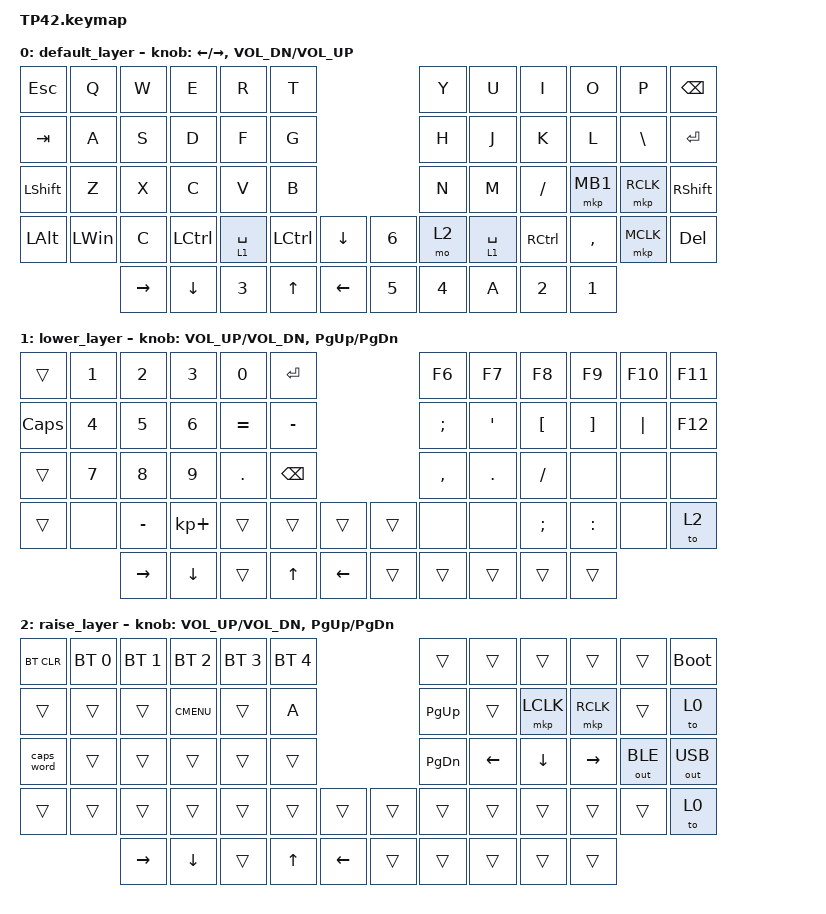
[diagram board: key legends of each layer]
/*
 * Copyright (c) 2020 The ZMK Contributors
 *
 * SPDX-License-Identifier: MIT
 */

#include <behaviors.dtsi>

// Enable mouse 启用鼠标

#include <dt-bindings/zmk/mouse.h>
#include <dt-bindings/zmk/mouse_settings.h>

// Enable Mouse Keys 启用鼠标键

#include "includes/mouse_keys.dtsi"
#include <dt-bindings/zmk/bt.h>
#include <dt-bindings/zmk/keys.h>
#include <dt-bindings/zmk/outputs.h>

// 以下的代码用来降低旋转分辨率

&left_encoder { resolution = <4>; };

&right_encoder { resolution = <4>; };

/ {
    keymap {
        compatible = "zmk,keymap";

        default_layer {
            // ------------------------------------------------------------------------------------------------------------
            // |  `    |  1  |  2  |  3   |  4   |  5   |                   |  6   |  7    |  8    |  9   |   0   |       |
            // |  ESC  |  Q  |  W  |  E   |  R   |  T   |                   |  Y   |  U    |  I    |  O   |   P   | BKSPC |
            // |  TAB  |  A  |  S  |  D   |  F   |  G   |                   |  H   |  J    |  K    |  L   |   ;   |   '   |
            // | SHIFT |  Z  |  X  |  C   |  V   |  B   |  MUTE  |  |       |  N   |  M    |  ,    |  .   |   /   | SHIFT |
            //               | GUI | ALT  | CTRL | LOWER|  ENTER |  | SPACE | RAISE| CTRL  | ALT   | GUI  |

            bindings = <
&kp ESC       &kp Q         &kp W      &kp E           &kp R         &kp T                                    &kp Y         &kp U        &kp I         &kp O      &kp P          &kp BACKSPACE
&kp TAB       &kp A         &kp S      &kp D           &kp F         &kp G                                    &kp H         &kp J        &kp K         &kp L      &kp BACKSLASH  &kp ENTER
&kp LSHIFT    &kp Z         &kp X      &kp C           &kp V         &kp B                                    &kp N         &kp M        &kp SLASH     &mkp MB1   &mkp RCLK      &kp RSHIFT
&kp LEFT_ALT  &kp LEFT_WIN  &kp C      &kp LCTRL       &lt 1 SPACE   &kp LCTRL  &kp DOWN_ARROW  &kp NUMBER_6  &mo 2         &lt 1 SPACE  &kp RCTRL     &kp COMMA  &mkp MCLK      &kp DELETE
                            &kp RIGHT  &kp DOWN_ARROW  &kp NUMBER_3  &kp UP     &kp LEFT        &kp N5        &kp NUMBER_4  &kp A        &kp NUMBER_2  &kp N1
            >;

            sensor-bindings = <&inc_dec_kp LEFT RIGHT &inc_dec_kp C_VOL_DN C_VOL_UP>;
        };

        lower_layer {
            // TODO: Some binds are waiting for shifted keycode support.
            // ------------------------------------------------------------------------------------------------------------
            // |       |  F1 |  F2 |  F3  |  F4  |  F5  |                   |  F6  |  F7   |  F8   |  F9  |  F10  |  F11  |
            // | `     |   1 |   2 |   3  |   4  |   5  |                   |   6  |   7   |   8   |   9  |    0  |  F12  |
            // |       |  !  |  @  |  #   |  $   |  %   |                   |  ^   |  &    |  *    |  (   |   )   |   |   |
            // |       |  =  |  -  |  +   |  {   |  }   |        |  |       |  [   |  ]    |  ;    |  :   |   \   |       |
            //               |     |      |      |      |        |  |       |      |       |       |      |

            bindings = <
&trans    &kp N1        &kp N2        &kp N3        &kp NUMBER_0  &kp ENTER                        &kp F6         &kp F7            &kp F8            &kp F9             &kp F10   &kp F11
&kp CLCK  &kp N4        &kp NUMBER_5  &kp N6        &kp EQUAL     &kp MINUS                        &kp SEMICOLON  &kp SINGLE_QUOTE  &kp LEFT_BRACKET  &kp RIGHT_BRACKET  &kp PIPE  &kp F12
&trans    &kp NUMBER_7  &kp NUMBER_8  &kp NUMBER_9  &kp PERIOD    &kp BACKSPACE                    &kp COMMA      &kp PERIOD        &kp SLASH         &none              &none     &none
&trans    &none         &kp MINUS     &kp KP_PLUS   &trans        &trans         &trans    &trans  &none          &none             &kp SEMI          &kp COLON          &none     &to 2
                        &kp RIGHT     &kp DOWN      &trans        &kp UP         &kp LEFT  &trans  &trans         &trans            &trans            &trans
            >;

            sensor-bindings = <&inc_dec_kp C_VOL_UP C_VOL_DN &inc_dec_kp PG_UP PG_DN>;
        };

        raise_layer {
            // ------------------------------------------------------------------------------------------------------------
            // |BTCLR| BT1  | BT2  |  BT3  |  BT4  |  BT5 |                |      |      |       |      |       |       |
            // |     | INS  | PSCR | GUI   |       |      |                | PGUP |      |   ^   |      |       |       |
            // |     | ALT  | CTRL | SHIFT |       | CAPS |                | PGDN |   <- |   v   |  ->  |  DEL  | BKSPC |
            // |     | UNDO | CUT  | COPY  | PASTE |      |      |  |      |      |      |       |      |       |       |
            //              |      |       |       |      |      |  |      |      |      |       |      |

            bindings = <
&bt BT_CLR  &bt BT_SEL 0  &bt BT_SEL 1     &bt BT_SEL 2    &bt BT_SEL 3  &bt BT_SEL 4                          &trans     &trans    &trans     &trans     &trans        &bootloader
&trans      &trans        &trans           &kp K_CMENU     &trans        &kp A                                 &kp PG_UP  &trans    &mkp LCLK  &mkp RCLK  &trans        &to 0
&caps_word  &trans        &trans           &trans          &trans        &trans                                &kp PG_DN  &kp LEFT  &kp DOWN   &kp RIGHT  &out OUT_BLE  &out OUT_USB
&trans      &trans        &trans           &trans          &trans        &trans        &trans          &trans  &trans     &trans    &trans     &trans     &trans        &to 0
                          &kp RIGHT_ARROW  &kp DOWN_ARROW  &trans        &kp UP        &kp LEFT_ARROW  &trans  &trans     &trans    &trans     &trans
            >;

            sensor-bindings = <&inc_dec_kp C_VOL_UP C_VOL_DN &inc_dec_kp PG_UP PG_DN>;
        };
    };
};
